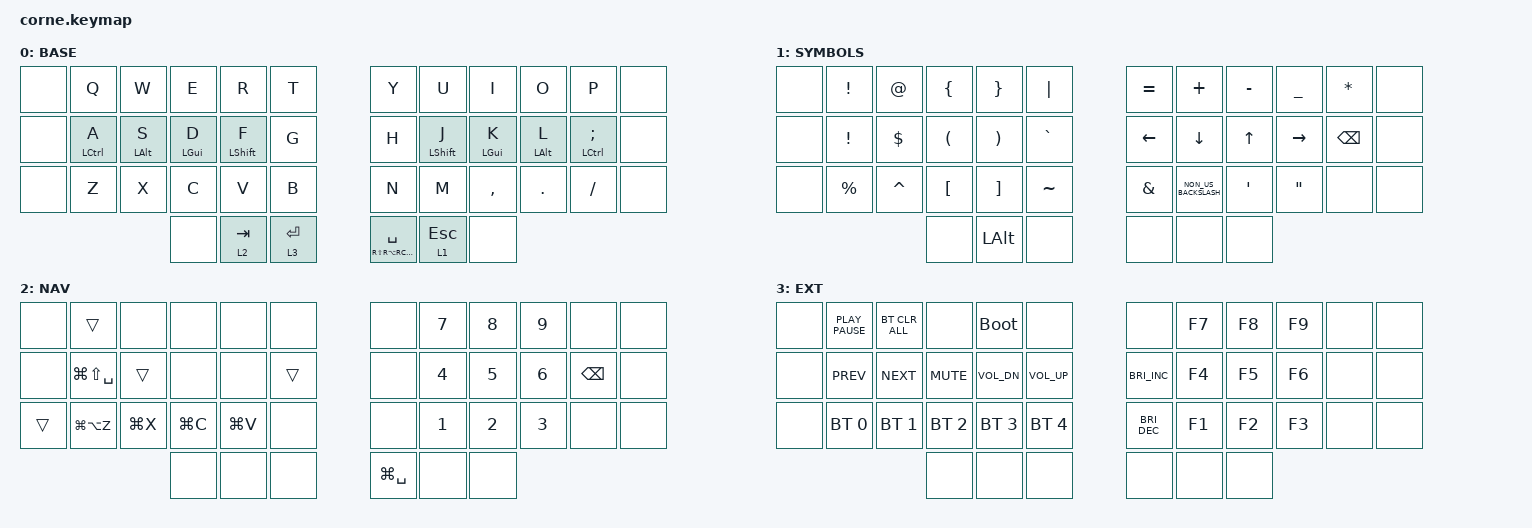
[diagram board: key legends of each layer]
#include <behaviors.dtsi>
#include <dt-bindings/zmk/bt.h>
#include <dt-bindings/zmk/keys.h>

&led_strip {
    chain-length = <0>;

    // chain-length = <27>;
    // 21 backlight + 6 glowlight
};

#define TAPPING_TERM 200

&mt {
    tapping-term-ms = <150>;
    bindings = <&kp>, <&kp>;

    flavor = "tap-preferred";
    quick-tap-ms = <120>;
};

/ {
    behaviors {
        /*
    * td_lock groups locking functions into one key:
    *  - tap once to lock the host
    *  - tap twice to put the host to sleep
    */
    };

    combos { compatible = "zmk,combos"; };

    keymap {
        compatible = "zmk,keymap";

        base_layer {
            label = "BASE";
            bindings = <
&none  &kp Q        &kp W           &kp E           &kp R             &kp T          &kp Y                           &kp U             &kp I       &kp O       &kp P                &none
&none  &mt LCTRL A  &mt LEFT_ALT S  &mt LEFT_GUI D  &mt LEFT_SHIFT F  &kp G          &kp H                           &mt LEFT_SHIFT J  &mt LGUI K  &mt LALT L  &mt LCTRL SEMICOLON  &none
&none  &kp Z        &kp X           &kp C           &kp V             &kp B          &kp N                           &kp M             &kp COMMA   &kp DOT     &kp SLASH            &none
                                    &none           &lt 2 TAB         &lt 3 ENTER    &mt RS(RA(RC(RG(RALT)))) SPACE  &lt 1 ESCAPE      &none
            >;
        };

        symbols_nav_layer {
            label = "SYMBOLS";
            bindings = <
&none  &kp EXCLAMATION  &kp AT_SIGN  &kp LBRC              &kp RIGHT_BRACE        &kp PIPE     &kp EQUAL      &kp PLUS              &kp MINUS     &kp UNDERSCORE     &kp ASTERISK   &none
&none  &kp EXCL         &kp DOLLAR   &kp LEFT_PARENTHESIS  &kp RIGHT_PARENTHESIS  &kp GRAVE    &kp LEFT       &kp DOWN_ARROW        &kp UP_ARROW  &kp RIGHT_ARROW    &kp BACKSPACE  &none
&none  &kp PERCENT      &kp CARET    &kp LEFT_BRACKET      &kp RIGHT_BRACKET      &kp TILDE    &kp AMPERSAND  &kp NON_US_BACKSLASH  &kp SQT       &kp DOUBLE_QUOTES  &none          &none
                                     &none                 &kp LALT               &none        &none          &none                 &none
            >;
        };

        nums_shortcuts_layer {
            label = "NAV";
            bindings = <
&none   &trans             &none      &none      &none      &none     &none          &kp N7        &kp N8        &kp N9        &none          &none
&none   &kp LG(LS(SPACE))  &trans     &none      &none      &trans    &none          &kp NUMBER_4  &kp N5        &kp NUMBER_6  &kp BACKSPACE  &none
&trans  &kp LG(LA(Z))      &kp LG(X)  &kp LG(C)  &kp LG(V)  &none     &none          &kp NUMBER_1  &kp NUMBER_2  &kp NUMBER_3  &none          &none
                                      &none      &none      &none     &kp LG(SPACE)  &none         &none
            >;
        };

        extended_layer {
            label = "EXT";
            bindings = <
&none  &kp K_PLAY_PAUSE  &bt BT_CLR_ALL  &none         &bootloader   &none           &none                 &kp F7  &kp F8  &kp F9  &none  &none
&none  &kp K_PREV        &kp K_NEXT      &kp K_MUTE    &kp C_VOL_DN  &kp C_VOL_UP    &kp C_BRIGHTNESS_INC  &kp F4  &kp F5  &kp F6  &none  &none
&none  &bt BT_SEL 0      &bt BT_SEL 1    &bt BT_SEL 2  &bt BT_SEL 3  &bt BT_SEL 4    &kp C_BRIGHTNESS_DEC  &kp F1  &kp F2  &kp F3  &none  &none
                                         &none         &none         &none           &none                 &none   &none
            >;
        };
    };

    conditional_layers { compatible = "zmk,conditional-layers"; };
};
